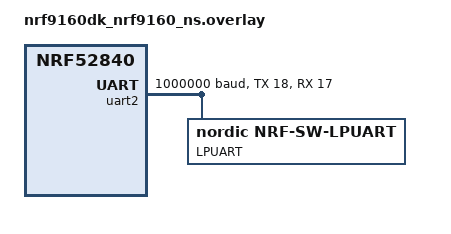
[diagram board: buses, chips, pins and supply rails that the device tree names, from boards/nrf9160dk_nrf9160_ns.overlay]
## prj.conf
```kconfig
#
# Copyright (c) 2019 Nordic Semiconductor ASA
#lte_ble_gateway
# SPDX-License-Identifier: LicenseRef-Nordic-5-Clause
#
# General config
CONFIG_NEWLIB_LIBC=y
CONFIG_ASSERT=n
CONFIG_REBOOT=y

# Network
CONFIG_NETWORKING=y
CONFIG_NET_NATIVE=n
CONFIG_NET_SOCKETS=y
CONFIG_NET_SOCKETS_OFFLOAD=y

# LTE link control
#CONFIG_LTE_LINK_CONTROL=y
# CONFIG_LTE_AUTO_INIT_AND_CONNECT=n

# AT host

# Modem library
#CONFIG_NRF_MODEM_LIB=y

# Disable Modem traces, since we need UART1 for HCI
CONFIG_NRF_MODEM_LIB_TRACE_ENABLED=n

# nRF Cloud
CONFIG_NRF_CLOUD_MQTT=y

# GPS
CONFIG_GPS_USE_SIM=y

# For demo purposes, we acquire fix often
CONFIG_GPS_SEARCH_INTERVAL=30
CONFIG_GPS_SEARCH_TIMEOUT=15

# The two configurations below are required if using the nRF9160's built-in GPS
# CONFIG_NRF9160_GPS=y
# CONFIG_GPS_USE_NRF9160=y

# Library for buttons and LEDs
CONFIG_DK_LIBRARY=y
CONFIG_DK_LIBRARY_INVERT_LEDS=n

# Console for user association
CONFIG_CONSOLE_SUBSYS=y
# CONFIG_CONSOLE_GETCHAR=y

# Enable Bluetooth stack and libraries
CONFIG_BT=y
CONFIG_BT_H4=y
CONFIG_BT_WAIT_NOP=y
CONFIG_BT_CENTRAL=y
CONFIG_BT_PERIPHERAL=y
CONFIG_BT_GATT_CLIENT=y
CONFIG_BT_GATT_DM=y
CONFIG_BT_SETTINGS=y
CONFIG_BT_SETTINGS_CCC_STORE_ON_WRITE=y
CONFIG_BT_DEBUG_LOG=y

# CONFIG_BT_GATT_DM_DATA_PRINT=y
CONFIG_BT_SCAN=y
CONFIG_BT_SCAN_FILTER_ENABLE=y
CONFIG_BT_SCAN_UUID_CNT=1
CONFIG_BT_EXT_ADV=y
CONFIG_UART_INTERRUPT_DRIVEN=y
CONFIG_BT_USER_PHY_UPDATE=y
# Heap and stacks
CONFIG_HEAP_MEM_POOL_SIZE=16384
CONFIG_MAIN_STACK_SIZE=8192
CONFIG_SYSTEM_WORKQUEUE_STACK_SIZE=4096
CONFIG_AT_MONITOR_HEAP_SIZE=1024
# Mitigation for NCSIDB-356
CONFIG_ZERO_LATENCY_IRQS=n

CONFIG_LOG=y
CONFIG_LOG_DEFAULT_LEVEL=4
CONFIG_THREAD_NAME=y

CONFIG_BT_GATTP=y
CONFIG_BT_GATTP_LOG_LEVEL_DBG=y
CONFIG_BT_GATT_AUTO_DISCOVER_CCC=y
CONFIG_PM=y
# Required to disable default behavior of deep sleep on timeout
CONFIG_PM_DEVICE=y 

################ UNCOMMENT FOR LOW POWER
# CONFIG_CONSOLE=n
# CONFIG_UART_CONSOLE=n
# CONFIG_PRINTK=n
# CONFIG_DEBUG=n
###################

CONFIG_BOOT_BANNER=n 
CONFIG_FLASH=y
CONFIG_FLASH_PAGE_LAYOUT=y
CONFIG_MPU_ALLOW_FLASH_WRITE=y
CONFIG_NVS=y
CONFIG_SETTINGS_NVS=y
CONFIG_NVS_LOG_LEVEL_DBG=y

CONFIG_MODEM_KEY_MGMT=y
CONFIG_SERIAL=y
CONFIG_GPIO=y
CONFIG_LOG=y
CONFIG_PRINTK=y
```

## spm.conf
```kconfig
CONFIG_IS_SPM=y
# CONFIG_FW_INFO=y
# CONFIG_GPIO=y
CONFIG_SERIAL=n
```

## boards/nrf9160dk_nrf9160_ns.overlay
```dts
#include <nrf9160dk_nrf52840_reset_on_if5.dtsi>

/ {
	chosen {
		zephyr,bt-uart=&lpuart;
	};
};

&gpiote {
	interrupts = <49 NRF_DEFAULT_IRQ_PRIORITY>;
};

&uart2 {
	current-speed = <1000000>;
	status = "okay";
	tx-pin = <18>; /* <&interface_to_nrf52840 1 0>; */
	rx-pin = <17>; /* <&interface_to_nrf52840 0 0>; */
	/delete-property/ rts-pin;
	/delete-property/ cts-pin;
	/delete-property/ hw-flow-control;

	lpuart: nrf-sw-lpuart {
		compatible = "nordic,nrf-sw-lpuart";
		status = "okay";
		label = "LPUART";
		req-pin = <21>; /* <&interface_to_nrf52840 3 0>; */
		rdy-pin = <19>; /* <&interface_to_nrf52840 2 0>; */
	};
};


&timer0 {
	status = "disabled";
};

&timer1 {
	status = "disabled";
};

&timer2 {
	status = "disabled";
};

&pwm0 {
	status = "disabled";
};

&spi3 {
	status = "disabled";
};

&i2c2 {
	status = "disabled";
};

&adc {
	status = "disabled";
};
```

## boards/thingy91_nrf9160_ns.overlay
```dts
/ {
	chosen {
		zephyr,bt-uart=&lpuart;
	};
};

&uart1 {
	current-speed = <115200>;
	status = "okay";
	tx-pin = <22>;
	rx-pin = <23>;
	/delete-property/ rts-pin;
	/delete-property/ cts-pin;
	/delete-property/ hw-flow-control;

	lpuart: nrf-sw-lpuart {
		compatible = "nordic,nrf-sw-lpuart";
		status = "okay";
		label = "LPUART";
		req-pin = <24>;
		rdy-pin = <25>;
	};
};

&gpiote {
	interrupts = <49 NRF_DEFAULT_IRQ_PRIORITY>;
};

&uart0 {
	status = "disabled";
};

&timer0 {
	status = "disabled";
};

&timer1 {
	status = "disabled";
};

&timer2 {
	status = "disabled";
};

&pwm0 {
	status = "disabled";
};

&pwm1 {
	status = "disabled";
};

&pwm2 {
	status = "disabled";
};

&pwm3 {
	status = "disabled";
};

&spi3 {
	status = "disabled";
};

&i2c2 {
	status = "disabled";
};

&adc {
	status = "disabled";
};
```

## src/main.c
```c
/*
 * Copyright (c) 2018 Nordic Semiconductor ASA
 *
 * SPDX-License-Identifier: LicenseRef-Nordic-5-Clause
 */

#include <zephyr.h>
#include <stdio.h>
#include <string.h>
#include <stdlib.h>
#include <math.h>

#include <drivers/gps.h>
#include <drivers/sensor.h>
#include <console/console.h>
#include <net/nrf_cloud.h>
#include <dk_buttons_and_leds.h>
#include <modem/lte_lc.h>
#include <sys/reboot.h>
#include <drivers/gpio.h>


#include <modem/nrf_modem_lib.h>
#include <modem/modem_info.h>
#if defined(CONFIG_NRF_MODEM_LIB)
#include <nrf_modem.h>
#endif


#include "aggregator.h"

#include "ble.h"
#include "alarm.h"
#include "led.h"
#include <net/socket.h>
#include "button.h"
#include "fs.h"
#include "clock.h"
#include "modemSetup.h"
#include "low_power.h"
#include "listing.h"
#include "lte.h"
#include "battery.h"

/* Interval in milliseconds after the device will retry cloud connection
 * if the event NRF_CLOUD_EVT_TRANSPORT_CONNECTED is not received.
 */

#define BAT_MIN 3900

#define MAX_MTU_SIZE     1000
#define RECV_BUF_SIZE    4096
#define SEND_BUF_SIZE    MAX_MTU_SIZE

#define LED_RED 29
#define LED_GREEN 30
#define LED_BLUE 31


const struct device *dev;

void short_beep(void);

void long_beep(void);

void tone_b(void);

void tone_a(void);

//////////https://41x9s3uqe5.execute-api.us-east-1.amazonaws.com/prod/listing ##original prod endpoint, doesn't work

/*########UNCOMMNENT FOR PRODUCTION############*/
#define PROD
/*########UNCOMMNENT FOR PRODUCTION############*/

#define Z_HTTP_HOST_DEV "l2eldm9fh1.execute-api.us-east-1.amazonaws.com"
#define Z_HTTP_HOST_PROD "f9v5raedt4.execute-api.us-east-1.amazonaws.com"
#define Z_HTTP_PORT 443
#define Z_PATH_DEV "/dev/listing"
#define Z_PATH_PROD "/prod2/listing"

#ifdef PROD
#define Z_HTTP_HOST Z_HTTP_HOST_PROD
#define Z_PATH Z_PATH_PROD
#else
#define Z_HTTP_HOST Z_HTTP_HOST_DEV
#define Z_PATH Z_PATH_DEV
#endif

#define STRINGIFY(x) #x

#define HTTP_HDR_END "\r\n\r\n"
#define LISTINGS_GROUP_SIZE 20
#define TEST_STRING	"21AAAAAABBBBBB096DACA701636c6f75640001A5DC5C000000000000000000010017000007d001A5DC5C1B101B111C111B12042063050101FE"

#define POST_TEMPLATE "POST %s? HTTP/1.1\r\n"\
                      "Host: %s\r\n"\
                      "Connection: close\r\n"\
                      "Content-Type: text/plain\r\n"\
                      "Content-length: %d\r\n\r\n"\
                      "%s"

bool connectToLTE(void);

bool app_http_start_zypher(char * post_buf,int send_data_len, int *listings_post_count, uint16_t ** del_listing_ind, uint16_t current_ind, int num_curr_listings);

extern bool time_paused;

#define RETRY_CONNECT_WAIT K_MSEC(90000)


/* Sensor data */
int countDigits(int num);

/* Structures for work */
static struct k_work_delayable connect_work;
struct k_work_delayable aggregated_work;
extern struct k_work_delayable send_post_work;
extern struct k_work_delayable ble_scan_start_work;
extern struct k_work_delayable ble_scan_stop_work;
extern struct k_work_delayable reboot_work;
extern struct k_work_delayable advertising_start_work;
extern struct k_work_delayable advertising_normal_work;
extern struct k_work_delayable clock_work;
extern struct k_work_delayable stop_lte_work;
extern struct k_work_delayable button_time_count;


/* Forward declaration of functions */
static void work_init(void);

void sensor_data_send(struct nrf_cloud_sensor_data *data);

static uint32_t GetFreeMemorySizeA()
{
	uint32_t  i;
	uint32_t  len;
	uint8_t*  ptr;
	
	for(i=1;;i++)
	{
		len = i * 256;
		ptr = (uint8_t*)malloc(len);
		if (!ptr)
		break;
		free(ptr);
	}

	len -= 256; //(i-1)*256 is aviliable size
	
	return len;
}

// static void stop_lte_work_handler(struct k_work *work){
// 	int err;
// 	//COBY NO LED
// 	leds_off();
// 	err = lte_lc_deinit();
	
// 	if (err){
// 		printk("lte_lc_deinit failed: %d\n", err);
// 	}
// 	else{
// 		printk("lte_lc_deinit success: %d\n", err);
// 	}
// 	// write time and schedule restart
// 	nvs_write_timestamp(get_timestamp_mins()+1);
// 	k_work_schedule(&reboot_work, Z_TIMEOUT_MS(5*SEC_INTERVAL));
// 	// k_work_schedule(&advertising_start_work, Z_TIMEOUT_MS(5*1000));

// }

int countDigits(int num){
    int count=(num==0)?1:log10(num)+1; 
    return count;
}

/**@brief Update LEDs state. */
static void send_post(struct k_work *work)
{
	// printk("send_post\n");
	//COBY DO LED
	// block_button();
	exit_low_power();
	led_red();

	// uint32_t free_memory = GetFreeMemorySizeA();
	// printk("Free memory: %d\n", free_memory);
	// if (free_memory < 5000){
	// 	printk("Free memory too low: %d\n", free_memory);
	// 	nvs_delete_listings();
	// 	k_work_schedule(&reboot_work, Z_TIMEOUT_MS(5*1000));
	// 	return;
	// }
	int err;
	// printk("Sending post.\n");
	
	int listings_post_count = 0;
	uint16_t listings_length = nvs_read_listings_num();
	uint16_t list_size = nvs_read_listings_len();
	printk("listings length 1: %d",listings_length );
	uint16_t * del_listing_ind = malloc(listings_length*sizeof(uint16_t));
	uint8_t * listings_hex_arr = malloc(list_size*sizeof(uint8_t));
	nvs_read_listings(&listings_hex_arr);
	uint16_t current_ind = 0;
	if (list_size == 0){
		printk("No listings to send, exiting\n");
		goto exit;
	}
	// bool conn = connectToLTE();
	// if (!conn){
	// 	printk("Failed to connect to LTE, exiting\n");
	// 	goto exit;
	// }
	// err = lte_lc_psm_req(true);
	// if (err) {
	// 	printk("lte_lc_psm_req failed: %d\n", err);
	// 	goto exit;
	// }
	// else{
	// 	printk("lte_lc_psm_req success: %d\n", err);
	// }
	//TODO read all listings from memory
	
	for (int i = 0; i < list_size; i++){
		// uint32_t free_memory = GetFreeMemorySizeA();
		// printk("Free memory: %d\n", free_memory);
		char q_mark = '\'';
		char * final_body_data = malloc(2*MAX_LISTING_SIZE*LISTINGS_GROUP_SIZE);
		memcpy(final_body_data, &q_mark,1);
		int final_listing_size = 1;
		//1. copy bytes into one string containing three listings
		int m;
		for (m = 0; (m < LISTINGS_GROUP_SIZE && i < list_size); m++, i++){
			
			int header_len = listings_hex_arr[i]; 
			// printk("header_len: %d\n", header_len);
			int body_ind = header_len + i; 
			// printk("body_ind: %d\n", body_ind);
			uint8_t current_listing_size = header_len +  listings_hex_arr[body_ind] + 1; 
			// printk("hex at body bytes: %02x\n", listings_hex_arr[body_ind]);
			// printk("current_listing_size: %d\n", current_listing_size);
			uint8_t * current_listing_hex = malloc(current_listing_size*sizeof(uint8_t));
			memcpy(current_listing_hex, listings_hex_arr + i, current_listing_size);
			i+=current_listing_size-1; 

			//3. convert temp listing array to string
			char * body_data;
			body_data = hex_to_http_string(current_listing_hex, current_listing_size);
			int body_len = strlen(body_data);
			printk("body_len: %d\n", body_len);
			memcpy(final_body_data + final_listing_size,body_data,body_len);
			final_listing_size += body_len;
			free(current_listing_hex);
			free(body_data);
		}

		if (i<list_size) i--;

		printk("Sending listings, size: %d\n", final_listing_size);
		// char temp_buf[strlen(final_body_data)];
		// sprintf(temp_buf, "%c%s",'\'', final_body_data);
		// sprintf(final_body_data, "%s%c", temp_buf,'\'');

		
		memcpy(final_body_data+final_listing_size,&q_mark,1 );
	    
		char pre_buf[final_listing_size+1];
		memcpy(pre_buf, final_body_data,final_listing_size+1);
		int pre_buf_len = strlen(pre_buf);

		// final_listing_size+=2;
		char send_buf[] =
			"POST " Z_PATH " HTTP/1.1\r\n" ///1/1
			"Host: " Z_HTTP_HOST":443" "\r\n"
			"Content-length: %d\r\n"
			"Connection: close" HTTP_HDR_END
			"%s";
		
		int num_digits = countDigits(pre_buf_len);
		
		int send_len = (sizeof(send_buf)-2) + final_listing_size+1 +(num_digits-2);
		char * post_buf = malloc(send_len);
		int ret_len = snprintf(post_buf, send_len, send_buf, final_listing_size+1, pre_buf);
		free(final_body_data);
		printk("send_len: %d, ret_len: %d\n", send_len, ret_len);

		int send_data_len = strlen(post_buf);
		//4. send string
		bool is_posting = app_http_start_zypher(post_buf,ret_len, &listings_post_count,&del_listing_ind, current_ind, m);	
		free(post_buf);
		current_ind+=m;
		if (!is_posting){
			printk("Failed to send listing, exiting\n");
			goto exit;
		}
		printk("after app_http_start_zypher\n");

	}
	exit:
	    printk("exit\n");
		//5. free array
		if (!listings_post_count && !listings_length) printk("no listings\n");
		else{
			// if all listings were sent, delete from memory
			if (listings_post_count == listings_length){
				printk("posted all listings\n");
				printk("listings length 2: %d",listings_length );
				nvs_delete_listings();	
			}
			else{
				printk("posted %d listings\n", listings_post_count);
				remove_posted_listings(listings_hex_arr, del_listing_ind,list_size,listings_post_count,listings_length);
			}
			free(listings_hex_arr);	
		}
		nvs_write_post_flag(0);	//TODO add check if write succesful
		k_work_schedule(&stop_lte_work, Z_TIMEOUT_MS(5*1000));
		

	}




/**@brief Initializes and submits delayed work. */
static void work_init(void)
{
	//k_work_init_delayable(&send_post_work, send_post);
	k_work_init_delayable(&ble_scan_start_work, ble_scan_start);
	k_work_init_delayable(&ble_scan_stop_work, ble_scan_stop);
	//adv work init
	k_work_init_delayable(&advertising_start_work, adv_work_handler);
	//adv work init
	k_work_init_delayable(&advertising_normal_work, adv_normal_mode_handler);
	k_work_init_delayable(&clock_work, clock_work_handler);
	//k_work_init_delayable(&stop_lte_work, stop_lte_work_handler);
	k_work_init_delayable(&reboot_work, reboot_work_handler);
	k_work_init_delayable(&button_time_count, button_time_count_handler);

}


bool connectToLTE(void){
	// int err;
	// printk("Waiting for network.. \n");
	// err = cert_provision();
	// if (err) {
  //       printk("cert_provision error\n");
	// 	return false;
	// }
	// err = lte_lc_init_and_connect();

	// // err = lte_lc_connect();
	// if (err) {
	// 	printk("Failed to connect to the LTE network, err %d\n", err);
	// 	return false;
	// }
	// printk("OK\n");
	// //WARNING: this is used to test offline listings savings, changed to true for production
	// return true; // true
	
}

static char z_recv_buf[RECV_BUF_SIZE];
static char chunk[128];

int findPosOfChar(char ch) {
	char qolon = '{';//character to search
	char *quotPtr = strchr(z_recv_buf, qolon);
	if(quotPtr == NULL)
	{
		// Handle error
		return -1;
	}
	int positionStart = quotPtr - z_recv_buf;
	return positionStart;
}

int blocking_send(int fd, uint8_t *buf, uint32_t size, uint32_t flags)
{
	int err;

	do {
		err = send(fd, buf, size, flags);
	} while (err < 0 && (errno == EAGAIN));

	return err;
}
static char recv_buf[RECV_BUF_SIZE];

bool find_response_code(char * buf){
	char *s;
	s = strstr(buf, "200");
	if (s != NULL) {
		printk("200 OK\n");
		return true;
	}
	else{
		printk("NOT 200 OK\n");
		return false;
	}
}

bool app_http_start_zypher(char * post_buf,int send_data_len, int *listings_post_count, uint16_t ** del_listing_ind, uint16_t current_ind, int num_curr_listings)
{
	// printk("inside http start\n");
	// uint32_t free_memory = GetFreeMemorySizeA();
	// printk("Free memory: %d\n", free_memory);
	struct sockaddr_in local_addr;
	struct addrinfo *res;
	struct addrinfo hints;

	hints.ai_flags = 0;
	hints.ai_family = AF_INET;
	hints.ai_socktype = SOCK_STREAM;
	hints.ai_protocol = 0;

	local_addr.sin_family = AF_INET;
	local_addr.sin_port = htons(Z_HTTP_PORT);
	local_addr.sin_addr.s_addr = 0;

	// printk("POST Request: "Z_HTTP_HOST"\n\r");

	int err = getaddrinfo(Z_HTTP_HOST, NULL, &hints, &res);
	if (err) {
		printk("getaddrinfo errno %d\n", errno);
		/* No clean up needed, just return */
		return false;
	}

	((struct sockaddr_in *)res->ai_addr)->sin_port = htons(Z_HTTP_PORT);

	int client_fd = socket(AF_INET, SOCK_STREAM, IPPROTO_TLS_1_2);
	// int client_fd = socket(AF_INET, SOCK_STREAM | SOCK_NATIVE_TLS, IPPROTO_TLS_1_2);
	// uint32_t free_memory2 = GetFreeMemorySizeA();
	// printk("\nFree memory: %d\n", free_memory2);
	enum {
		NONE = 0,
		OPTIONAL = 1,
		REQUIRED = 2,
	};

	/* Setup TLS socket options */

	err = tls_setup(client_fd, Z_HTTP_HOST);
	if (err) {
		goto clean_up;
	}

	err = connect(client_fd, (struct sockaddr *)res->ai_addr,
		      sizeof(struct sockaddr_in));
	if (err > 0) {
		printk("connect err: %d\n", errno);
		goto clean_up;
	} else {
		printk("Connected to " Z_HTTP_HOST "\n");
	}
	//get listings byte length
		
		int num_bytes = send(client_fd, post_buf, send_data_len, 0);
		if (num_bytes < 0) {
			printk("send errno: %d\n", errno);
			goto clean_up;
		}
		// else printk("send is fine\n");

		int tot_num_bytes = 0;
		// printk("sent post request\n");

		do {
			// printk("doing\n");
			/* TODO: make a proper timeout *
			* Current solution will just hang 
			* until remote side closes connection */
			// printk("receiving\n-----\n");
			num_bytes = recv(client_fd, &z_recv_buf[tot_num_bytes], RECV_BUF_SIZE - tot_num_bytes, 0);
			//print num_bytes
			// printk("num_bytes: %d\n", num_bytes);
			tot_num_bytes += num_bytes;
			
			if (num_bytes <= 0) {
				printk("\nrecv errno: %d\n", errno);
				break;
			}
			
			// printk("GOT buffer size: %d \n",num_bytes);
			
			// printk("%s\n", chunk);
			// printk("\n^^^^^\n");
			// off += num_bytes;
		} while (num_bytes != 0);
		
		// printk("z_recv_buf:\n %s\n", z_recv_buf);
		bool res_code = find_response_code(z_recv_buf);
		if (res_code){
			led_green();
			for (int i = 0; i < num_curr_listings; i++){
				memcpy(*del_listing_ind+(*listings_post_count), &current_ind, sizeof(uint16_t));
				current_ind++;
				(*listings_post_count)++;
			}

			
		} 
		else{
			led_magenta();
		}
		
		// int length = 200;
		// printk("%*.*s", length, length, z_recv_buf);
		
	

	// printk("\n\rFinished. Closing socket\n");
	
	clean_up:
		printk("cleaning up\n");
		freeaddrinfo(res);
		err = close(client_fd);
		return true;

	}

void battery_low_beep(void){
	tone_a();
	tone_b();
	tone_a();
	tone_b();
	tone_a();
	tone_b();
}


void tone_a(void){
	for (int i = 1; i < 500; ++i)
  {
	gpio_pin_set(dev, 28,1);	//GPIO p0.28 == buzzer
	k_usleep(500);
	gpio_pin_set(dev, 28,0);
	k_usleep(500);
  }
}

void tone_b(void){
	for (int i = 1; i < 500; ++i)
  {
	gpio_pin_set(dev, 28,1);	//GPIO p0.28 == buzzer
	k_usleep(800);
	gpio_pin_set(dev, 28,0);
	k_usleep(800);
  }
}

void fault_beep(void){
	for (int i = 0; i < 3; ++i)
  {
	short_beep();
	k_msleep(100);
  }
}

void short_beep(void){
	for (int i = 1; i < 30; ++i)
  {
	gpio_pin_set(dev, 28,1);	//GPIO p0.28 == buzzer
	k_msleep(1);
	gpio_pin_set(dev, 28,0);
	k_msleep(1);
  }
}

void long_beep(void){
	for (int i = 1; i < 150; ++i)
  {
	gpio_pin_set(dev, 28,1);	//GPIO p0.28 == buzzer
	k_msleep(1);
	gpio_pin_set(dev, 28,0);
	k_msleep(1);
  }
}
void test_ble_advertising() {
    // Initialize BLE
    ble_init();
    
    // Should start advertising automatically
    // Verify with a BLE scanner app on phone:
    // - Device name should be "TOBE"
    // - Should see manufacturer data with gateway ID
}
void test_ble_scanning() {
    // Start scan mode
    ble_scan_start();
    
    // Should:
    // - Stop advertising
    // - Start scanning
    // - LED should turn yellow during scan
    // - Should collect device data in device_adv array
}
void main(void) {
    int err;
    dev = device_get_binding("GPIO_0");
    dev = device_get_binding("GPIO_0");
    if (!dev) {
        printk("Error: GPIO device not found\n");
        return;
    }
    printk("GPIO device initialized successfully\n");

    init_led();
    led_cyan();
    long_beep();
    leds_off();

    // Initialize work items BEFORE BLE
    work_init();

    #if defined(CONFIG_DK_LIBRARY)
    dk_buttons_init(button_handler);
    #endif

    // Initialize BLE after work items
    ble_init();

    while(1) {
        k_sleep(K_SECONDS(10));
        //ble_scan_start();
        k_sleep(K_SECONDS(60)); 
        //ble_scan_stop();
    }
}
```

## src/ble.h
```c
/*
 * Copyright (c) 2018 Nordic Semiconductor ASA
 *
 * SPDX-License-Identifier: LicenseRef-Nordic-5-Clause
 */

#ifndef _BLE_H_
#define _BLE_H_

#define BT_PER_COMP_NAME "TOBE"

#define GATEWAY_SERIAL_ID 0x0017 // 28

//define treatment struct
typedef struct {
    uint16_t delay;
    uint8_t type;
    bool send;

} treatment;

void ble_init(void);
void ble_scan_stop();
void ble_scan_start(void);
void adv_work_handler(void);
void ble_advertise_time(uint32_t adv_time);
void ble_advertise_battery(void);

uint8_t * get_mfg_data(void);

void reboot_work_handler(void);

void update_treatment_params(uint16_t delay, uint8_t type);

void stop_send_treatment(void);

void set_ble_adv_pm(void);

void ble_advertise_lte_vals(void);


void ble_set_adv_data_flag(uint8_t flag);
// uint32_t GetFreeMemorySize(void);

typedef struct {
    bool connected;
    bool is_pm;
} ble_conn_handler;

#endif /* _BLE_H_ */
```

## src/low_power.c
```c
#include <stdio.h>
#include <stdbool.h>
#include <zephyr.h>
#include <device.h>
#include <init.h>
#include <pm/pm.h>
#include <hal/nrf_gpio.h>
#include "nrf_modem.h"
#include <nrfx_uarte.h>
#include <drivers/src/prs/nrfx_prs.h>

static bool low_power_enter = false;

static int low_power_usart(bool is_enable) {
    if (is_enable) {
        nrf_uarte_enable(NRF_UARTE0); // Console
        nrf_uarte_enable(NRF_UARTE2); // BLE-H4_UART
    } else {
        nrf_uarte_disable(NRF_UARTE0);// Console
        nrf_uarte_disable(NRF_UARTE2);// BLE-H4_UART
    }
	return 0;
}

void low_power_init(void) {

}

void enter_low_power(void) {
    low_power_enter = true;
    low_power_usart(false);
    k_sleep(K_MSEC(100));
}

void exit_low_power(void) {
    low_power_enter = false;
    low_power_usart(true);
    k_sleep(K_MSEC(100));
} 
```

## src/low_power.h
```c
#ifndef LOW_POWER_H
#define LOW_POWER_H

void low_power_init(void);
void enter_low_power(void);
void exit_low_power(void);

#endif
```

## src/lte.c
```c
#include "lte.h"
#include <zephyr.h>
#include <zephyr/types.h>
#include <errno.h>
#include <string.h>
#include <stdio.h>
#include <nrf_errno.h>
#include <nrf_modem_at.h>
#include <modem/lte_lc.h>
#include <modem/lte_lc_trace.h>
#include <modem/at_cmd_parser.h>
#include <modem/at_params.h>

uint8_t * get_signal_vals(void){
    uint8_t * vals = (uint8_t *)malloc(2*sizeof(uint8_t));
    char buf[40] = {0};
    memcpy(buf,get_signal_buf(), sizeof(buf) -1);
    int rssi, ber;
    sscanf(buf, "+CESQ: %*d, %*d, %*d, %*d, %d, %d", &rssi, &ber);
    vals[0] = rssi;
    vals[1] = ber;
    return vals;
}



char * get_signal_buf(void){
         int err;
    const char signal_strength_command[] = "AT+CESQ";
    char * cmd_rcv_buf = malloc(40 * sizeof(char));
    err = nrf_modem_at_cmd(cmd_rcv_buf, 40,signal_strength_command);
    printk("answ lte: %s\n", cmd_rcv_buf);
    return cmd_rcv_buf;
        
}
```

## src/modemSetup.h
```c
#include <modem/modem_key_mgmt.h>

#define TLS_SEC_TAG 42


static const char cert[] = {
	#include "../cert/DigiCertGlobalRootCA.pem"
};

BUILD_ASSERT(sizeof(cert) < KB(4), "Certificate too large");

/* Provision certificate to modem */
int cert_provision(void)
{
	int err;
	bool exists;
	int mismatch;

	/* It may be sufficient for you application to check whether the correct
	 * certificate is provisioned with a given tag directly using modem_key_mgmt_cmp().
	 * Here, for the sake of the completeness, we check that a certificate exists
	 * before comparing it with what we expect it to be.
	 */
	
	err = modem_key_mgmt_exists(TLS_SEC_TAG, MODEM_KEY_MGMT_CRED_TYPE_CA_CHAIN, &exists);
	if (err) {
		printk("Failed to check for certificates err %d\n", err);
		return err;
	}

	if (exists) {
		mismatch = modem_key_mgmt_cmp(TLS_SEC_TAG,
					      MODEM_KEY_MGMT_CRED_TYPE_CA_CHAIN,
					      cert, strlen(cert));
		if (!mismatch) {
			printk("Certificate match\n");
			return 0;
		}

		printk("Certificate mismatch\n");
		err = modem_key_mgmt_delete(TLS_SEC_TAG, MODEM_KEY_MGMT_CRED_TYPE_CA_CHAIN);
		if (err) {
			printk("Failed to delete existing certificate, err %d\n", err);
		}
	}

	printk("Provisioning certificate\n");
	// nrf_modem_lib_shutdown();
	/*  Provision certificate to the modem */
	err = modem_key_mgmt_write(TLS_SEC_TAG,
				   MODEM_KEY_MGMT_CRED_TYPE_CA_CHAIN,
				   cert, sizeof(cert) - 1);
	if (err) {
		printk("Failed to provision certificate, err %d\n", err);
		return err;
	}

	return 0;
}

/* Setup TLS options on a given socket */
int tls_setup(int fd, char *hostname)
{
	int err;
	int verify;

	//print hostname
	printk(":) :) hostname: %s\n", hostname);

	/* Security tag that we have provisioned the certificate with */
	const sec_tag_t tls_sec_tag[] = {
		TLS_SEC_TAG,
	};

#if defined(CONFIG_SAMPLE_TFM_MBEDTLS)
	err = tls_credential_add(tls_sec_tag[0], TLS_CREDENTIAL_CA_CERTIFICATE, cert, sizeof(cert));
	if (err) {
		return err;
	}
#endif

	/* Set up TLS peer verification */
	enum {
		NONE = 0,
		OPTIONAL = 1,
		REQUIRED = 2,
	};

	verify = REQUIRED;
	err = setsockopt(fd, SOL_TLS, TLS_PEER_VERIFY, &verify, sizeof(verify));
	if (err) {
		printk("Failed to setup peer verification, err %d\n", errno);
		return err;
	}

	/* Associate the socket with the security tag
	 * we have provisioned the certificate with.
	 */
	err = setsockopt(fd, SOL_TLS, TLS_SEC_TAG_LIST, tls_sec_tag,
			 sizeof(tls_sec_tag));
	if (err) {
		printk("Failed to setup TLS sec tag, err %d\n", errno);
		return err;
	}
	// err = setsockopt(fd, SOL_TLS, TLS_HOSTNAME, HTTPS_HOSTNAME, sizeof(HTTPS_HOSTNAME) - 1);
	err = setsockopt(fd, SOL_TLS, TLS_HOSTNAME, hostname, strlen(hostname));
	if (err) {
		printk("Failed to setup TLS hostname, err %d\n", errno);
		return err;
	}
		

	return 0;
}
```
